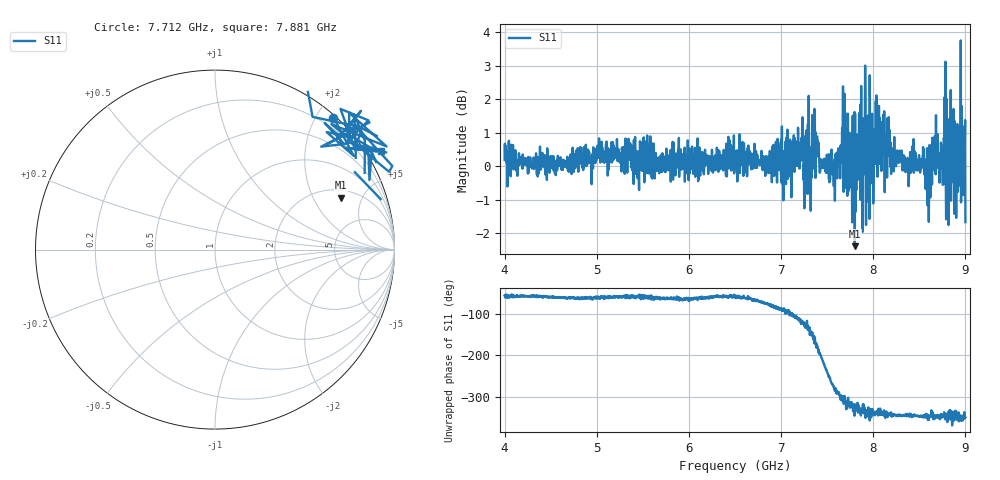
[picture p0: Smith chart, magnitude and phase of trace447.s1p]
! Created with skrf 1.8.0 (http://scikit-rf.org).
# Hz S RI R 50.0
!freq ReS11 ImS11
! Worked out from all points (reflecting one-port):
!   1601 points, 4 GHz to 9 GHz, reference 50 ohm
!   lowest |S11| = -2.4 dB at 7.8 GHz (marker M1), VSWR 7.31, Z = 122 + j168 ohm
!   phase of S11 starts at -57 deg and turns -290 deg over the sweep
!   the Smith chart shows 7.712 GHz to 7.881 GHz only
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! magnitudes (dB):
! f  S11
! 4 GHz  0.2
! 4.625 GHz  -0.1
! 5.25 GHz  0.1
! 5.875 GHz  0.0
! 6.5 GHz  0.4
! 7.125 GHz  0.0
! 7.209 GHz  0.3
! 7.262 GHz  0.6
! 7.284 GHz  0.4
! 7.309 GHz  -0.2
! 7.362 GHz  1.7
! 7.441 GHz  0.1
! 7.584 GHz  -1.0
! 7.669 GHz  0.9
! 7.75 GHz  -0.4
! 7.8 GHz  -2.4
! 7.891 GHz  0.7
! 7.944 GHz  0.6
! 8.097 GHz  0.4
! 8.375 GHz  0.1
! 8.434 GHz  -0.1
! 8.603 GHz  -1.7
! 8.656 GHz  0.5
! 8.738 GHz  0.6
! 8.85 GHz  0.1
! 8.919 GHz  -0.7
! 8.972 GHz  0.9
! 9 GHz  -1.7
